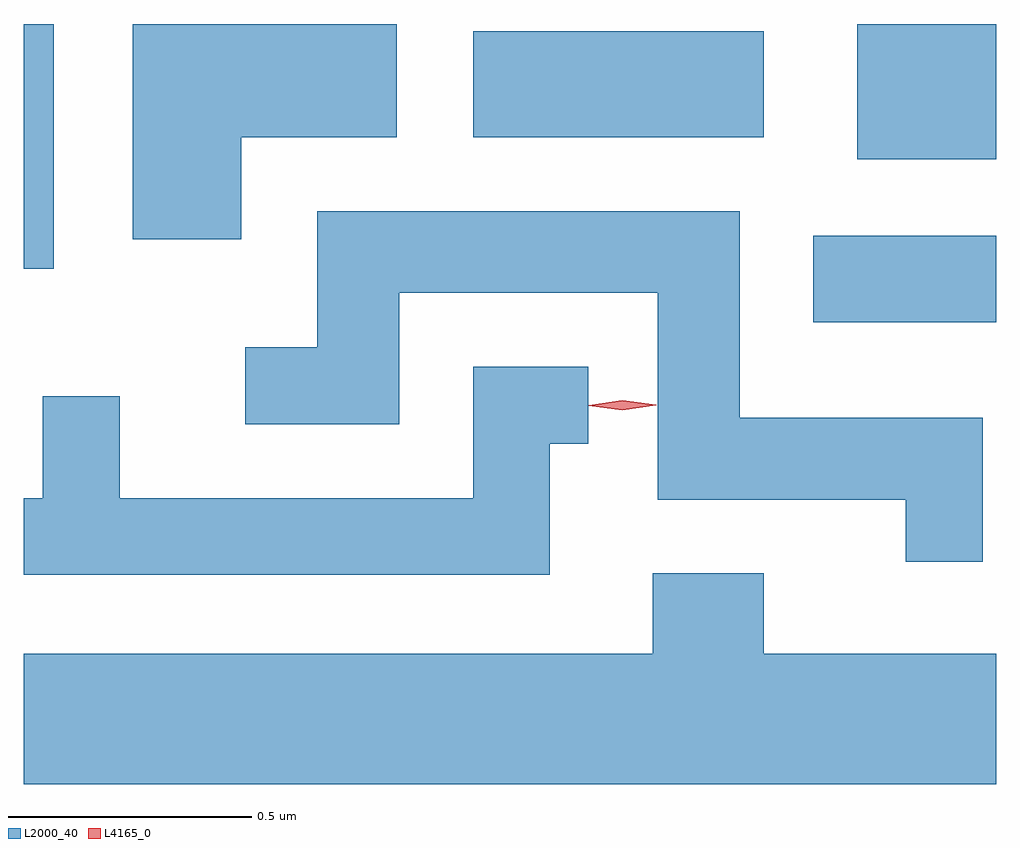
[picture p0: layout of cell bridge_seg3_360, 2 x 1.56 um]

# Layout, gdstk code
import gdstk
lib = gdstk.Library(unit=1e-6, precision=1e-09)
def R(c, l, rs):  # rectangles x0, y0, x1, y1
    for r in rs: c.add(gdstk.rectangle(r[:2], r[2:], *l))
def P(c, l, *ps):  # polygons
    for p in ps: c.add(gdstk.Polygon(p, *l))
L2000_40 = (2000, 40)
L4165_0 = (4165, 0)

bridge_seg3_360 = lib.new_cell('bridge_seg3_360')
R(bridge_seg3_360, L2000_40, [(678.511,1204.666,678.887,1204.844), (676.887,1204.776,676.949,1205.279), (678.601,1205.001,678.887,1205.279), (677.811,1205.046,678.409,1205.264)])
P(bridge_seg3_360, L2000_40, [(677.334,1205.046),(677.654,1205.046),(677.654,1205.279),(677.111,1205.279),(677.111,1204.836),(677.334,1204.836)],
  [(678.859,1204.469),(678.359,1204.469),(678.359,1204.894),(677.491,1204.894),(677.491,1204.614),(677.343,1204.614),(677.343,1204.456),(677.659,1204.456),(677.659,1204.726),(678.191,1204.726),(678.191,1204.301),(678.701,1204.301),(678.701,1204.173),(678.859,1204.173)],
  [(677.969,1204.416),(678.048,1204.416),(678.048,1204.574),(677.811,1204.574),(677.811,1204.304),(677.084,1204.304),(677.084,1204.513),(676.926,1204.513),(676.926,1204.304),(676.887,1204.304),(676.887,1204.146),(677.969,1204.146)],
  [(678.887,1203.984),(678.409,1203.984),(678.409,1204.149),(678.181,1204.149),(678.181,1203.984),(676.887,1203.984),(676.887,1203.716),(678.887,1203.716)])
P(bridge_seg3_360, L4165_0, [(678.118,1204.485),(678.049,1204.494),(678.049,1204.495),(678.049,1204.495),(678.118,1204.505),(678.188,1204.496),(678.188,1204.496),(678.188,1204.495)])

lib.write_gds('bridge_seg3_360.gds')
